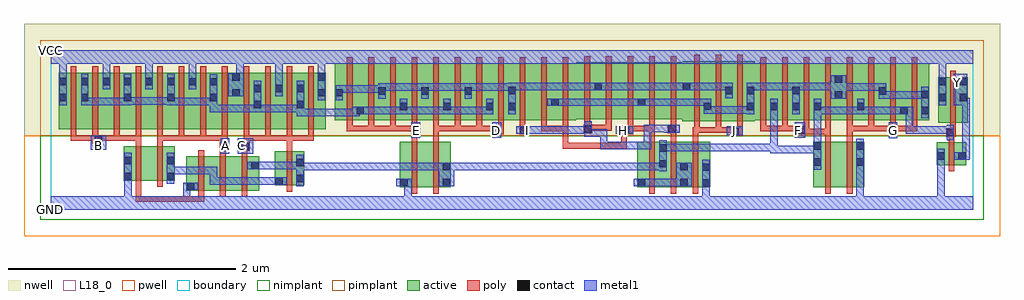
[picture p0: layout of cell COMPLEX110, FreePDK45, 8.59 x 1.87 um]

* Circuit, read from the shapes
.subckt COMPLEX110 A B C D E F G GND H I J VCC Y
M1 n1 B GND VSUBS nfet w=0.3u l=0.05u
M2 n2 A n1 VSUBS nfet w=0.3u l=0.05u
M3 n3 B GND VSUBS nfet w=0.3u l=0.05u
M4 n4 A n3 VSUBS nfet w=0.3u l=0.05u
M5 n5 C n4 VSUBS nfet w=0.3u l=0.05u
M6 n5 C n2 VSUBS nfet w=0.3u l=0.05u
M7 n6 E GND VSUBS nfet w=0.4u l=0.05u
M8 n5 D n6 VSUBS nfet w=0.4u l=0.05u
M9 n5 H n7 VSUBS nfet w=0.4u l=0.05u
M10 n7 I n5 VSUBS nfet w=0.4u l=0.05u
M11 GND J n7 VSUBS nfet w=0.4u l=0.05u
M12 n8 F n5 VSUBS nfet w=0.4u l=0.05u
M13 GND G n8 VSUBS nfet w=0.4u l=0.05u
M14 Y n5 GND VSUBS nfet w=0.2u l=0.05u
M15 n9 B VCC n10 pfet w=0.5u l=0.05u m=4
M16 n9 A VCC n10 pfet w=0.5u l=0.05u m=4
M17 n9 C VCC n10 pfet w=0.5u l=0.05u m=4
M18 n9 E n11 n10 pfet w=0.5u l=0.05u m=4
M19 n9 D n11 n10 pfet w=0.5u l=0.05u m=4
M20 n12 I n11 n10 pfet w=0.5u l=0.05u
M21 n13 H n12 n10 pfet w=0.5u l=0.05u
M22 n14 H n13 n10 pfet w=0.5u l=0.05u
M23 n11 I n14 n10 pfet w=0.5u l=0.05u
M24 n15 I n11 n10 pfet w=0.5u l=0.05u
M25 n13 H n15 n10 pfet w=0.5u l=0.05u
M26 n16 H n13 n10 pfet w=0.5u l=0.05u
M27 n11 I n16 n10 pfet w=0.5u l=0.05u
M28 n13 J n11 n10 pfet w=0.532u l=0.05u m=3
M29 n5 F n13 n10 pfet w=0.5u l=0.05u m=4
M30 n5 G n13 n10 pfet w=0.5u l=0.05u m=4
M31 Y n5 VCC n10 pfet w=0.4u l=0.05u
.ends

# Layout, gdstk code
import gdstk
lib = gdstk.Library(unit=1e-6, precision=1e-09)
def R(c, l, rs):  # rectangles x0, y0, x1, y1
    for r in rs: c.add(gdstk.rectangle(r[:2], r[2:], *l))
def A(c, l, x, y, w, h, nx, ny, dx, dy):  # array of equal rectangles
    R(c, l, [(x+i*dx, y+j*dy, x+i*dx+w, y+j*dy+h) for i in range(nx) for j in range(ny)])
active = (1, 0)
pwell = (2, 0)
nwell = (3, 0)
nimplant = (4, 0)
pimplant = (5, 0)
poly = (9, 0)
contact = (10, 0)
metal1 = (11, 0)
L18_0 = (18, 0)
boundary = (235, 0)

complex110 = lib.new_cell('COMPLEX110')
A(complex110, active, 1.592, 0.705, 0.265, 0.5, 3, 1, 0.19, 0)
A(complex110, active, 2.687, 0.787, 0.265, 0.5, 3, 1, 0.19, 0)
A(complex110, active, 1.212, 0.807, 0.075, 0.398, 3, 1, 0.38, 0)
A(complex110, active, 6.712, 0.807, 0.075, 0.263, 3, 1, 0.38, 0)
R(complex110, active, [(1.195,0.167,1.27,0.467), (1.195,0.167,1.42,0.467), (1.42,0.167,1.61,0.467), (1.61,0.167,1.835,0.467), (3.072,0.195,3.147,0.595), (3.072,0.195,3.297,0.595), (3.297,0.195,3.522,0.595), (3.447,0.195,3.522,0.595), (5.162,0.195,5.427,0.595), (5.162,0.195,5.237,0.487), (5.352,0.195,5.427,0.595), (5.352,0.195,5.612,0.595), (5.537,0.195,5.805,0.595), (5.537,0.195,5.612,0.492), (5.73,0.195,5.805,0.595), (6.712,0.195,6.937,0.595), (6.712,0.195,6.817,0.595), (6.937,0.195,7.162,0.595), (7.087,0.195,7.162,0.595), (1.972,0.212,2.047,0.512), (1.972,0.212,2.232,0.512), (2.157,0.212,2.232,0.512), (0.642,0.255,0.717,0.555), (0.642,0.255,0.867,0.555), (0.867,0.255,1.092,0.555), (1.017,0.255,1.092,0.555), (1.76,0.295,1.835,0.467), (7.797,0.39,8.057,0.59), (7.797,0.39,7.872,0.59), (7.982,0.395,8.057,0.59), (0.072,0.705,0.337,1.205), (0.072,0.705,0.147,1.205), (0.262,0.705,0.527,1.205), (0.452,0.705,0.712,1.205), (0.637,0.705,0.902,1.205), (0.827,0.705,1.097,1.205), (1.022,0.705,1.287,1.205), (1.212,0.705,1.472,1.205), (1.397,0.705,1.667,1.205), (2.162,0.705,2.422,1.205), (2.347,0.705,2.422,1.205), (7.812,0.765,7.887,1.165), (7.812,0.765,8.072,1.165), (7.997,0.765,8.072,1.165), (5.557,0.775,5.817,1.307), (5.742,0.775,6.007,1.307), (5.742,0.775,5.817,1.07), (5.932,0.775,6.197,1.307), (5.932,0.775,6.007,1.2), (2.502,0.787,2.577,1.2), (2.502,0.787,2.762,1.287), (3.257,0.787,3.527,1.287), (3.452,0.787,3.712,1.287), (3.637,0.787,3.902,1.287), (3.827,0.787,4.097,1.287), (4.022,0.787,4.247,1.287), (4.247,0.787,4.477,1.287), (4.402,0.787,4.627,1.287), (6.122,0.787,6.402,1.287), (6.327,0.787,6.597,1.287), (6.522,0.787,6.597,1.2), (6.522,0.787,6.787,1.287), (6.712,0.787,6.972,1.287), (6.897,0.787,7.167,1.287), (7.092,0.787,7.357,1.287), (7.282,0.787,7.547,1.287), (7.472,0.787,7.732,1.287), (7.657,0.787,7.732,1.2), (4.627,0.795,4.857,1.295), (4.782,0.795,5.007,1.295), (5.007,0.795,5.237,1.295), (5.162,0.795,5.387,1.295), (5.387,0.795,5.632,1.295), (3.257,0.802,3.332,1.2), (5.557,0.802,5.632,1.2), (0.262,0.807,0.337,1.2), (0.452,0.807,0.527,1.205), (0.637,0.807,0.712,1.2), (0.827,0.807,0.902,1.205), (1.022,0.807,1.097,1.2), (1.397,0.807,1.472,1.2), (1.782,0.807,1.857,1.2), (2.162,0.807,2.237,1.2), (2.687,0.807,2.762,1.07), (2.877,0.807,2.952,1.2), (3.067,0.807,3.142,1.07), (3.452,0.807,3.527,1.07), (3.637,0.807,3.712,1.2), (3.827,0.807,3.902,1.07), (4.022,0.807,4.097,1.2), (4.402,0.807,4.477,1.07), (4.782,0.807,4.857,1.2), (5.162,0.807,5.237,1.07), (6.122,0.807,6.197,1.2), (6.327,0.807,6.402,1.07), (6.897,0.807,6.972,1.2), (7.282,0.807,7.357,1.2)])
R(complex110, pwell, [(-0.235,-0.235,8.355,0.65)])
R(complex110, nwell, [(-0.235,0.65,8.355,1.635)])
R(complex110, nimplant, [(-0.09,-0.09,8.21,0.65)])
R(complex110, pimplant, [(-0.09,0.65,8.21,1.49)])
A(complex110, poly, 1.3, 0.112, 0.05, 0.41, 3, 1, 0.19, 0)
A(complex110, poly, 0.177, 0.605, 0.05, 0.095, 12, 1, 0.19, 0)
A(complex110, poly, 0.177, 0.605, 0.24, 0.05, 3, 1, 0.38, 0)
A(complex110, poly, 1.697, 0.605, 0.24, 0.05, 3, 1, 0.19, 0)
A(complex110, poly, 0.177, 0.65, 0.05, 0.61, 12, 1, 0.19, 0)
A(complex110, poly, 5.662, 0.675, 0.05, 0.095, 3, 1, 0.19, 0)
A(complex110, poly, 2.607, 0.687, 0.05, 0.095, 11, 1, 0.19, 0)
A(complex110, poly, 2.607, 0.687, 0.05, 0.05, 3, 1, 0.19, 0)
A(complex110, poly, 2.607, 0.687, 0.24, 0.05, 3, 1, 0.19, 0)
A(complex110, poly, 3.557, 0.687, 0.24, 0.05, 3, 1, 0.76, 0)
A(complex110, poly, 6.247, 0.687, 0.05, 0.095, 3, 1, 0.19, 0)
A(complex110, poly, 7.007, 0.687, 0.05, 0.095, 4, 1, 0.19, 0)
A(complex110, poly, 5.662, 0.72, 0.05, 0.642, 3, 1, 0.19, 0)
A(complex110, poly, 2.607, 0.732, 0.05, 0.61, 11, 1, 0.19, 0)
A(complex110, poly, 6.247, 0.732, 0.05, 0.61, 8, 1, 0.19, 0)
A(complex110, poly, 4.697, 0.74, 0.05, 0.61, 5, 1, 0.19, 0)
R(complex110, poly, [(0.747,0.067,0.797,0.117), (0.747,0.067,0.797,0.117), (0.747,0.067,0.797,0.117), (0.747,0.067,1.045,0.117), (0.747,0.067,0.797,0.25), (0.995,0.067,1.045,0.117), (0.995,0.067,1.045,0.117), (0.995,0.067,1.045,0.117), (0.995,0.067,1.217,0.117), (1.167,0.067,1.217,0.117), (1.167,0.067,1.35,0.117), (1.3,0.067,1.35,0.162), (1.3,0.067,1.35,0.117), (1.3,0.067,1.35,0.117), (1.3,0.067,1.35,0.117), (3.177,0.14,3.227,0.65), (3.367,0.14,3.417,0.65), (5.267,0.14,5.317,0.65), (5.457,0.14,5.507,0.65), (5.65,0.14,5.7,0.65), (6.817,0.14,6.867,0.65), (7.007,0.14,7.057,0.65), (2.077,0.157,2.127,0.567), (0.747,0.2,0.797,0.61), (0.937,0.2,0.987,0.61), (7.902,0.335,7.952,0.645), (1.49,0.472,1.54,0.57), (1.68,0.472,1.73,0.567), (1.677,0.517,1.752,0.592), (2.077,0.517,2.127,0.655), (1.49,0.52,1.565,0.595), (4.507,0.537,4.557,0.587), (4.507,0.537,4.805,0.587), (4.507,0.537,4.557,0.737), (4.755,0.537,4.805,0.587), (4.755,0.537,4.805,0.587), (4.755,0.537,4.805,0.587), (4.755,0.537,4.94,0.587), (4.89,0.537,4.94,0.587), (4.89,0.537,5.072,0.587), (5.022,0.537,5.072,0.587), (5.022,0.537,5.072,0.587), (5.022,0.537,5.072,0.587), (5.022,0.537,5.072,0.712), (1.697,0.542,1.747,0.655), (1.507,0.545,1.557,0.655), (0.747,0.56,0.797,0.655), (0.937,0.56,0.987,0.655), (0.367,0.58,0.457,0.655), (7.902,0.595,7.952,0.69), (3.177,0.6,3.227,0.712), (3.367,0.6,3.417,0.737), (5.267,0.6,5.317,0.737), (5.457,0.6,5.507,0.72), (5.65,0.6,5.7,0.725), (6.817,0.6,6.867,0.712), (7.007,0.6,7.057,0.737), (0.177,0.605,0.227,0.655), (0.177,0.605,0.227,0.655), (0.177,0.605,0.227,0.655), (0.407,0.605,0.457,0.655), (0.407,0.605,0.457,0.655), (0.407,0.605,0.607,0.655), (0.557,0.605,0.607,0.655), (0.557,0.605,0.607,0.655), (0.557,0.605,0.607,0.655), (0.747,0.605,0.797,0.655), (0.747,0.605,0.797,0.655), (0.747,0.605,0.797,0.655), (0.937,0.605,0.987,0.655), (0.937,0.605,0.987,0.655), (0.937,0.605,0.987,0.655), (1.127,0.605,1.177,0.655), (1.127,0.605,1.177,0.655), (1.127,0.605,1.177,0.655), (1.127,0.605,1.367,0.655), (1.317,0.605,1.367,0.655), (1.317,0.605,1.367,0.655), (1.317,0.605,1.367,0.655), (1.317,0.605,1.557,0.655), (1.507,0.605,1.557,0.655), (1.507,0.605,1.557,0.655), (1.507,0.605,1.557,0.655), (1.697,0.605,1.747,0.655), (1.697,0.605,1.747,0.655), (1.697,0.605,1.747,0.655), (1.887,0.605,1.937,0.655), (1.887,0.605,1.937,0.655), (1.887,0.605,1.937,0.655), (2.077,0.605,2.127,0.655), (2.077,0.605,2.127,0.655), (2.077,0.605,2.127,0.655), (2.267,0.605,2.317,0.655), (2.267,0.605,2.317,0.655), (2.267,0.605,2.317,0.655), (7.88,0.64,7.967,0.715), (7.902,0.64,7.952,0.69), (7.902,0.64,7.952,0.69), (5.985,0.65,6.092,0.725), (3.177,0.662,3.252,0.737), (3.897,0.662,3.987,0.737), (4.127,0.662,4.202,0.737), (5.022,0.662,5.127,0.737), (6.57,0.662,6.677,0.737), (6.627,0.662,6.677,0.712), (6.627,0.662,6.677,0.712), (6.627,0.662,6.867,0.712), (6.817,0.662,6.867,0.712), (6.817,0.662,6.867,0.712), (6.817,0.662,6.867,0.712), (6.817,0.662,6.867,0.782), (7.382,0.662,7.457,0.737), (7.917,0.665,7.967,0.76), (4.692,0.67,4.767,0.745), (5.432,0.67,5.507,0.745), (5.65,0.675,5.712,0.725), (5.662,0.675,5.712,0.725), (5.662,0.675,5.712,0.725), (5.662,0.675,5.712,0.725), (5.662,0.675,5.712,0.725), (5.662,0.675,5.902,0.725), (5.852,0.675,5.902,0.725), (5.852,0.675,6.035,0.725), (5.985,0.675,6.035,0.725), (5.985,0.675,6.035,0.725), (2.607,0.687,2.657,0.737), (2.607,0.687,2.657,0.737), (2.987,0.687,3.037,0.737), (2.987,0.687,3.037,0.737), (3.177,0.687,3.227,0.737), (3.177,0.687,3.227,0.737), (3.177,0.687,3.227,0.737), (3.177,0.687,3.227,0.737), (3.367,0.687,3.417,0.737), (3.367,0.687,3.417,0.737), (3.367,0.687,3.417,0.737), (3.367,0.687,3.607,0.737), (3.557,0.687,3.607,0.737), (3.557,0.687,3.607,0.737), (3.557,0.687,3.607,0.737), (3.747,0.687,3.797,0.737), (3.747,0.687,3.797,0.737), (3.747,0.687,3.797,0.737), (3.747,0.687,3.947,0.737), (3.897,0.687,3.947,0.737), (3.897,0.687,3.947,0.737), (4.317,0.687,4.367,0.737), (4.317,0.687,4.367,0.737), (4.317,0.687,4.367,0.737), (4.507,0.687,4.557,0.737), (4.507,0.687,4.557,0.737), (4.507,0.687,4.557,0.737), (5.077,0.687,5.127,0.79), (5.267,0.687,5.317,0.737), (5.267,0.687,5.317,0.737), (5.267,0.687,5.317,0.737), (5.267,0.687,5.317,0.737), (5.267,0.687,5.317,0.737), (5.267,0.687,5.317,0.79), (6.247,0.687,6.297,0.737), (6.247,0.687,6.297,0.737), (6.247,0.687,6.297,0.737), (6.247,0.687,6.487,0.737), (6.437,0.687,6.487,0.737), (6.437,0.687,6.487,0.737), (6.437,0.687,6.487,0.737), (6.437,0.687,6.62,0.737), (7.007,0.687,7.057,0.737), (7.007,0.687,7.057,0.737), (7.007,0.687,7.057,0.737), (7.007,0.687,7.247,0.737), (7.197,0.687,7.247,0.737), (7.197,0.687,7.247,0.737), (7.197,0.687,7.247,0.737), (7.197,0.687,7.432,0.737), (7.382,0.687,7.432,0.737), (7.382,0.687,7.432,0.737), (7.407,0.687,7.627,0.737), (7.577,0.687,7.627,0.737), (7.577,0.687,7.627,0.737), (7.577,0.687,7.627,0.737), (4.697,0.695,4.747,0.79), (4.717,0.695,4.937,0.745), (4.887,0.695,4.937,0.79), (4.887,0.695,4.937,0.745), (4.887,0.695,4.937,0.745), (4.887,0.695,4.937,0.745), (5.457,0.695,5.507,0.79), (5.457,0.695,5.507,0.745), (5.457,0.695,5.507,0.745), (7.917,0.71,7.967,1.22)])
A(complex110, contact, 2.882, 1.012, 0.065, 0.065, 3, 1, 0.38, 0)
A(complex110, contact, 1.787, 1.032, 0.065, 0.065, 3, 1, 0.19, 0)
A(complex110, contact, 0.077, 1.095, 0.065, 0.065, 3, 1, 0.19, 0)
R(complex110, contact, [(1.2,0.172,1.265,0.237), (5.735,0.2,5.8,0.265), (3.077,0.205,3.142,0.27), (3.452,0.205,3.517,0.27), (5.167,0.205,5.232,0.27), (5.542,0.205,5.607,0.27), (1.977,0.217,2.042,0.282), (2.162,0.24,2.227,0.305), (0.647,0.26,0.712,0.325), (1.022,0.26,1.087,0.325), (5.735,0.34,5.8,0.405), (3.452,0.345,3.517,0.41), (5.542,0.345,5.607,0.41), (1.765,0.355,1.83,0.42), (5.357,0.37,5.422,0.435), (2.162,0.38,2.227,0.445), (6.717,0.385,6.782,0.45), (7.092,0.385,7.157,0.45), (0.647,0.4,0.712,0.465), (1.022,0.4,1.087,0.465), (7.802,0.437,7.867,0.502), (7.987,0.437,8.052,0.502), (5.357,0.51,5.422,0.575), (1.682,0.522,1.747,0.587), (1.495,0.525,1.56,0.59), (6.717,0.525,6.782,0.59), (7.092,0.525,7.157,0.59), (0.387,0.585,0.452,0.65), (7.885,0.645,7.95,0.71), (5.99,0.655,6.055,0.72), (3.182,0.667,3.247,0.732), (3.902,0.667,3.967,0.732), (4.132,0.667,4.197,0.732), (5.027,0.667,5.092,0.732), (6.575,0.667,6.64,0.732), (7.387,0.667,7.452,0.732), (4.697,0.675,4.762,0.74), (5.437,0.675,5.502,0.74), (2.692,0.84,2.757,0.905), (7.477,0.84,7.542,0.905), (7.662,0.84,7.727,0.905), (3.072,0.875,3.137,0.94), (3.457,0.875,3.522,0.94), (3.832,0.875,3.897,0.94), (4.027,0.875,4.092,0.94), (6.127,0.875,6.192,0.94), (6.332,0.875,6.397,0.94), (6.527,0.875,6.592,0.94), (6.717,0.875,6.782,0.94), (7.097,0.875,7.162,0.94), (5.747,0.877,5.812,0.942), (1.787,0.892,1.852,0.957), (2.167,0.892,2.232,0.957), (4.407,0.912,4.472,0.977), (5.167,0.912,5.232,0.977), (1.402,0.952,1.467,1.017), (0.077,0.955,0.142,1.02), (0.267,0.955,0.332,1.02), (0.642,0.955,0.707,1.02), (1.027,0.955,1.092,1.02), (7.817,0.955,7.882,1.02), (8.002,0.955,8.067,1.02), (6.902,0.977,6.967,1.042), (7.662,0.98,7.727,1.045), (1.597,0.995,1.662,1.06), (2.352,0.995,2.417,1.06), (2.507,0.995,2.572,1.06), (7.287,1.012,7.352,1.077), (4.027,1.015,4.092,1.08), (5.937,1.015,6.002,1.08), (6.127,1.015,6.192,1.08), (6.527,1.015,6.592,1.08), (4.787,1.05,4.852,1.115), (5.562,1.05,5.627,1.115), (1.217,1.092,1.282,1.157), (1.402,1.092,1.467,1.157), (0.642,1.095,0.707,1.16), (0.832,1.095,0.897,1.16), (1.027,1.095,1.092,1.16), (7.817,1.095,7.882,1.16), (8.002,1.095,8.067,1.16), (6.902,1.117,6.967,1.182), (1.597,1.135,1.662,1.2), (2.352,1.135,2.417,1.2)])
A(complex110, metal1, 2.882, 0.977, 0.065, 0.135, 3, 1, 0.38, 0)
R(complex110, metal1, [(0,0,8.12,0.115), (0.647,0.05,0.712,0.115), (0.647,0.05,0.712,0.115), (0.647,0.05,0.712,0.29), (1.165,0.05,1.23,0.115), (1.165,0.05,1.23,0.115), (1.165,0.05,1.23,0.237), (3.112,0.05,3.177,0.27), (5.735,0.05,5.8,0.23), (7.092,0.05,7.157,0.415), (7.802,0.05,7.867,0.115), (7.802,0.05,7.867,0.115), (7.802,0.05,7.867,0.467), (5.735,0.165,5.8,0.44), (1.165,0.172,1.3,0.237), (2.162,0.205,2.227,0.48), (3.042,0.205,3.177,0.27), (3.417,0.205,3.552,0.41), (5.132,0.205,5.267,0.27), (5.202,0.205,5.267,0.27), (5.202,0.205,5.267,0.27), (5.202,0.205,5.422,0.27), (5.357,0.205,5.422,0.27), (5.357,0.205,5.572,0.27), (5.507,0.205,5.572,0.27), (5.507,0.205,5.572,0.27), (5.507,0.205,5.642,0.41), (1.402,0.217,1.605,0.282), (1.402,0.217,1.467,0.375), (1.54,0.217,1.605,0.282), (1.54,0.217,1.815,0.282), (1.75,0.217,1.815,0.282), (1.75,0.217,1.815,0.282), (1.75,0.217,1.815,0.282), (1.75,0.217,1.952,0.282), (1.887,0.217,1.952,0.282), (1.887,0.217,2.007,0.282), (1.942,0.217,2.077,0.282), (0.647,0.225,0.712,0.5), (1.022,0.225,1.087,0.5), (1.022,0.31,1.087,0.375), (1.022,0.31,1.087,0.375), (1.022,0.31,1.33,0.375), (1.265,0.31,1.33,0.375), (1.265,0.31,1.33,0.375), (1.265,0.31,1.33,0.375), (1.265,0.31,1.467,0.375), (1.402,0.31,1.467,0.375), (1.402,0.31,1.467,0.375), (5.357,0.335,5.422,0.61), (2.162,0.345,2.227,0.41), (2.162,0.345,2.227,0.41), (2.162,0.345,2.435,0.41), (2.37,0.345,2.435,0.41), (2.37,0.345,2.435,0.41), (2.37,0.345,2.435,0.41), (2.37,0.345,2.777,0.41), (2.712,0.345,2.777,0.41), (2.712,0.345,2.777,0.41), (2.712,0.345,2.777,0.41), (2.712,0.345,2.915,0.41), (2.85,0.345,2.915,0.41), (2.85,0.345,2.93,0.41), (2.865,0.345,2.93,0.41), (2.865,0.345,3.052,0.41), (2.987,0.345,3.052,0.41), (2.987,0.345,3.107,0.41), (3.042,0.345,3.107,0.41), (3.042,0.345,3.327,0.41), (3.262,0.345,3.327,0.41), (3.262,0.345,3.327,0.41), (3.262,0.345,3.327,0.41), (3.262,0.345,3.465,0.41), (3.4,0.345,3.465,0.41), (3.4,0.345,3.482,0.41), (3.487,0.345,3.602,0.41), (3.537,0.345,3.602,0.41), (3.537,0.345,3.76,0.41), (3.695,0.345,3.76,0.41), (3.695,0.345,3.76,0.41), (3.695,0.345,3.76,0.41), (3.695,0.345,3.955,0.41), (3.89,0.345,3.955,0.41), (3.89,0.345,3.955,0.41), (3.89,0.345,3.955,0.41), (3.89,0.345,4.092,0.41), (4.027,0.345,4.092,0.41), (4.027,0.345,4.092,0.41), (4.027,0.345,4.092,0.41), (4.027,0.345,4.23,0.41), (4.165,0.345,4.23,0.41), (4.165,0.345,4.405,0.41), (4.34,0.345,4.405,0.41), (4.34,0.345,4.405,0.41), (4.34,0.345,4.405,0.41), (4.34,0.345,4.542,0.41), (4.477,0.345,4.542,0.41), (4.477,0.345,4.68,0.41), (4.615,0.345,4.68,0.41), (4.615,0.345,4.68,0.41), (4.615,0.345,4.68,0.41), (4.615,0.345,4.9,0.41), (4.835,0.345,4.9,0.41), (4.835,0.345,4.9,0.41), (4.835,0.345,4.9,0.41), (4.835,0.345,5.037,0.41), (4.972,0.345,5.037,0.41), (4.972,0.345,5.037,0.41), (4.972,0.345,5.037,0.41), (4.972,0.345,5.285,0.41), (5.22,0.345,5.285,0.41), (5.22,0.345,5.285,0.41), (5.22,0.345,5.285,0.41), (5.22,0.345,5.422,0.41), (6.717,0.35,6.782,0.625), (7.092,0.35,7.157,0.625), (1.73,0.355,1.865,0.42), (1.8,0.355,1.952,0.42), (1.887,0.355,1.952,0.42), (1.887,0.355,2.09,0.42), (2.025,0.355,2.09,0.42), (2.025,0.355,2.09,0.42), (2.025,0.355,2.09,0.42), (2.025,0.355,2.227,0.42), (7.802,0.402,7.867,0.467), (7.802,0.402,7.867,0.467), (7.802,0.402,7.867,0.537), (7.952,0.437,8.087,0.502), (8.022,0.437,8.087,0.502), (8.022,0.437,8.087,0.502), (8.022,0.437,8.087,0.502), (8.022,0.437,8.087,0.502), (8.022,0.437,8.087,0.985), (1.495,0.49,1.572,0.627), (1.647,0.492,1.782,0.627), (6.332,0.495,6.535,0.56), (6.332,0.495,6.397,0.577), (6.47,0.495,6.535,0.56), (6.47,0.495,6.535,0.56), (6.47,0.495,6.535,0.56), (6.47,0.495,6.782,0.56), (5.357,0.512,5.422,0.577), (5.357,0.512,5.422,0.577), (5.357,0.512,5.662,0.577), (5.597,0.512,5.662,0.577), (5.597,0.512,5.71,0.577), (5.645,0.512,5.71,0.577), (5.645,0.512,5.865,0.577), (5.8,0.512,5.865,0.577), (5.8,0.512,5.865,0.577), (5.8,0.512,5.865,0.577), (5.8,0.512,6.055,0.577), (5.99,0.512,6.055,0.577), (5.99,0.512,6.055,0.577), (5.99,0.512,6.055,0.577), (5.99,0.512,6.26,0.577), (6.195,0.512,6.26,0.577), (6.195,0.512,6.26,0.577), (6.195,0.512,6.26,0.577), (6.195,0.512,6.397,0.577), (6.332,0.512,6.397,0.577), (6.332,0.512,6.397,0.577), (6.332,0.512,6.397,0.577), (6.332,0.512,6.397,0.577), (6.332,0.512,6.397,0.905), (0.352,0.527,0.487,0.65), (4.835,0.53,4.9,0.595), (4.835,0.53,4.9,0.595), (4.835,0.53,4.9,0.595), (4.835,0.53,5.06,0.595), (4.835,0.53,4.9,0.705), (4.995,0.53,5.06,0.595), (4.995,0.53,5.06,0.595), (4.995,0.53,5.06,0.595), (4.995,0.53,5.285,0.595), (5.22,0.53,5.285,0.595), (5.22,0.53,5.285,0.595), (5.22,0.53,5.285,0.747), (6.717,0.56,6.782,0.625), (6.717,0.56,6.782,0.625), (6.717,0.56,6.782,0.625), (6.717,0.56,6.782,0.625), (6.717,0.56,6.782,0.905), (7.885,0.61,7.95,0.745), (7.377,0.627,7.452,0.767), (3.175,0.63,3.252,0.767), (3.887,0.632,3.967,0.767), (6.547,0.632,6.64,0.767), (4.697,0.64,4.762,0.775), (4.697,0.64,4.9,0.705), (4.835,0.64,4.9,0.705), (5.952,0.655,6.09,0.732), (4.097,0.667,4.267,0.732), (4.202,0.667,4.267,0.732), (4.202,0.667,4.267,0.732), (4.202,0.667,4.405,0.732), (4.34,0.667,4.405,0.732), (4.34,0.667,4.405,0.732), (4.34,0.667,4.405,0.732), (4.34,0.667,4.542,0.732), (4.477,0.667,4.542,0.732), (4.477,0.667,4.68,0.732), (4.615,0.667,4.68,0.732), (4.615,0.667,4.762,0.732), (4.972,0.667,5.127,0.732), (7.525,0.667,7.59,0.732), (7.525,0.667,7.645,0.732), (7.525,0.667,7.59,0.905), (7.58,0.667,7.645,0.732), (7.58,0.667,7.727,0.732), (7.662,0.667,7.727,0.732), (7.662,0.667,7.865,0.732), (7.8,0.667,7.865,0.732), (7.8,0.667,7.95,0.732), (5.402,0.675,5.537,0.747), (5.22,0.682,5.435,0.747), (5.37,0.682,5.435,0.747), (5.37,0.682,5.467,0.747), (7.662,0.805,7.727,1.08), (2.167,0.822,2.435,0.887), (2.167,0.822,2.232,0.922), (2.37,0.822,2.435,0.887), (2.37,0.822,2.435,0.887), (2.37,0.822,2.435,0.887), (2.37,0.822,2.722,0.887), (2.657,0.822,2.722,0.905), (2.657,0.84,2.722,0.905), (2.657,0.84,2.792,0.905), (2.727,0.84,2.915,0.905), (2.85,0.84,2.915,0.905), (2.85,0.84,2.97,0.905), (2.905,0.84,2.97,0.905), (2.905,0.84,3.052,0.905), (2.987,0.84,3.052,0.905), (2.987,0.84,3.137,0.905), (3.072,0.84,3.137,0.975), (3.072,0.84,3.327,0.905), (3.262,0.84,3.327,0.905), (3.262,0.84,3.327,0.905), (3.262,0.84,3.327,0.905), (3.262,0.84,3.465,0.905), (3.4,0.84,3.465,0.905), (3.4,0.84,3.522,0.905), (3.457,0.84,3.522,0.975), (3.457,0.84,3.602,0.905), (3.537,0.84,3.602,0.905), (3.537,0.84,3.76,0.905), (3.695,0.84,3.76,0.905), (3.695,0.84,3.76,0.905), (3.695,0.84,3.76,0.905), (3.695,0.84,3.897,0.905), (3.832,0.84,3.897,0.975), (4.027,0.84,4.092,1.115), (6.127,0.84,6.192,1.115), (6.332,0.84,6.397,0.905), (6.332,0.84,6.397,0.905), (6.332,0.84,6.397,0.975), (6.527,0.84,6.592,1.115), (6.717,0.84,6.782,0.905), (6.717,0.84,6.782,0.905), (6.717,0.84,6.782,0.975), (6.717,0.84,7.002,0.905), (6.937,0.84,7.002,0.905), (6.937,0.84,7.162,0.905), (7.097,0.84,7.162,0.905), (7.097,0.84,7.162,0.905), (7.097,0.84,7.162,0.975), (7.097,0.84,7.305,0.905), (7.24,0.84,7.305,0.905), (7.24,0.84,7.305,0.905), (7.24,0.84,7.305,0.905), (7.24,0.84,7.507,0.905), (7.442,0.84,7.507,0.905), (7.442,0.84,7.507,0.905), (7.442,0.84,7.59,0.905), (5.747,0.842,5.812,0.977), (5.747,0.842,5.88,0.907), (5.815,0.842,5.88,0.907), (5.815,0.842,6.055,0.907), (5.99,0.842,6.055,0.907), (5.99,0.842,6.055,0.907), (5.99,0.842,6.055,0.907), (5.99,0.842,6.192,0.907), (1.402,0.857,1.605,0.922), (1.402,0.857,1.467,0.982), (1.54,0.857,1.605,0.922), (1.54,0.857,1.605,0.922), (1.54,0.857,1.605,0.922), (1.54,0.857,1.852,0.922), (1.787,0.857,1.852,1.132), (1.787,0.857,1.952,0.922), (1.887,0.857,1.952,0.922), (1.887,0.857,2.09,0.922), (2.025,0.857,2.09,0.922), (2.025,0.857,2.09,0.922), (2.025,0.857,2.09,0.922), (2.025,0.857,2.232,0.922), (2.167,0.857,2.232,0.922), (2.167,0.857,2.232,1.132), (4.372,0.912,4.507,0.977), (4.442,0.912,4.542,0.977), (4.477,0.912,4.542,0.977), (4.477,0.912,4.68,0.977), (4.615,0.912,4.68,0.977), (4.615,0.912,4.68,0.977), (4.615,0.912,4.68,0.977), (4.615,0.912,4.9,0.977), (4.835,0.912,4.9,0.977), (4.835,0.912,4.9,0.977), (4.835,0.912,4.9,0.977), (4.835,0.912,5.037,0.977), (4.972,0.912,5.037,0.977), (4.972,0.912,5.037,0.977), (4.972,0.912,5.037,0.977), (4.972,0.912,5.197,0.977), (5.132,0.912,5.267,0.977), (5.202,0.912,5.267,0.977), (5.202,0.912,5.267,0.977), (5.202,0.912,5.435,0.977), (5.37,0.912,5.435,0.977), (5.37,0.912,5.435,0.977), (5.37,0.912,5.435,0.977), (5.37,0.912,5.662,0.977), (5.597,0.912,5.662,0.977), (5.597,0.912,5.71,0.977), (5.645,0.912,5.71,0.977), (5.645,0.912,5.812,0.977), (1.402,0.917,1.467,0.982), (1.402,0.917,1.467,1.192), (0.077,0.92,0.142,1.195), (0.267,0.92,0.332,0.985), (0.267,0.92,0.332,0.985), (0.267,0.92,0.332,1.195), (0.267,0.92,0.57,0.985), (0.505,0.92,0.57,0.985), (0.505,0.92,0.57,0.985), (0.505,0.92,0.57,0.985), (0.505,0.92,0.707,0.985), (0.642,0.92,0.707,1.195), (1.027,0.92,1.092,0.985), (1.027,0.92,1.092,0.985), (1.027,0.92,1.092,1.195), (1.027,0.92,1.33,0.985), (1.265,0.92,1.33,0.985), (1.265,0.92,1.33,0.985), (1.265,0.92,1.33,0.985), (1.265,0.92,1.467,0.985), (7.817,0.92,7.882,1.195), (7.947,0.92,8.067,1.195), (8.002,0.92,8.067,0.985), (8.002,0.92,8.087,0.985), (0.642,0.922,0.707,0.987), (0.642,0.922,0.707,0.987), (0.642,0.922,0.85,0.987), (0.785,0.922,0.85,0.987), (0.785,0.922,0.85,0.987), (0.785,0.922,0.85,0.987), (0.785,0.922,1.092,0.987), (2.352,0.96,2.417,1.235), (2.507,0.96,2.572,1.095), (6.867,0.977,7.002,1.182), (7.287,0.977,7.352,1.112), (7.287,0.977,7.49,1.042), (7.425,0.977,7.49,1.042), (7.425,0.977,7.49,1.042), (7.425,0.977,7.49,1.042), (7.425,0.977,7.727,1.042), (7.662,0.977,7.727,1.042), (7.662,0.977,7.727,1.042), (5.937,0.98,6.002,1.115), (1.562,0.995,1.697,1.2), (1.977,0.997,2.042,1.132), (2.507,1.03,2.572,1.095), (2.507,1.03,2.572,1.095), (2.507,1.03,2.792,1.095), (2.727,1.03,2.792,1.095), (2.727,1.03,2.915,1.095), (2.85,1.03,2.915,1.095), (2.85,1.03,2.947,1.095), (2.882,1.047,3.052,1.112), (2.987,1.047,3.052,1.112), (2.987,1.047,3.19,1.112), (3.125,1.047,3.19,1.112), (3.125,1.047,3.19,1.112), (3.125,1.047,3.19,1.112), (3.125,1.047,3.327,1.112), (3.262,1.047,3.465,1.112), (3.4,1.047,3.465,1.112), (3.4,1.047,3.465,1.112), (3.4,1.047,3.465,1.112), (3.4,1.047,3.622,1.112), (3.557,1.047,3.622,1.112), (3.557,1.047,3.707,1.112), (3.642,1.047,3.815,1.112), (3.75,1.047,3.815,1.112), (3.75,1.047,3.952,1.112), (3.887,1.047,3.952,1.112), (3.887,1.047,3.952,1.112), (3.887,1.047,3.952,1.112), (3.887,1.047,4.092,1.112), (6.937,1.047,7.002,1.112), (6.937,1.047,7.002,1.112), (6.937,1.047,7.14,1.112), (7.075,1.047,7.14,1.112), (7.075,1.047,7.305,1.112), (7.24,1.047,7.305,1.112), (7.24,1.047,7.352,1.112), (4.027,1.05,4.267,1.115), (4.202,1.05,4.267,1.115), (4.202,1.05,4.267,1.115), (4.202,1.05,4.267,1.115), (4.202,1.05,4.405,1.115), (4.34,1.05,4.405,1.115), (4.34,1.05,4.542,1.115), (4.477,1.05,4.542,1.115), (4.477,1.05,4.542,1.115), (4.477,1.05,4.542,1.115), (4.477,1.05,4.68,1.115), (4.615,1.05,4.68,1.115), (4.615,1.05,4.68,1.115), (4.615,1.05,4.68,1.115), (4.615,1.05,4.817,1.115), (4.752,1.05,4.887,1.115), (4.822,1.05,4.9,1.115), (4.835,1.05,4.9,1.115), (4.835,1.05,5.037,1.115), (4.972,1.05,5.037,1.115), (4.972,1.05,5.037,1.115), (4.972,1.05,5.037,1.115), (4.972,1.05,5.285,1.115), (5.22,1.05,5.285,1.115), (5.22,1.05,5.285,1.115), (5.22,1.05,5.285,1.115), (5.22,1.05,5.435,1.115), (5.37,1.05,5.435,1.115), (5.37,1.05,5.435,1.115), (5.37,1.05,5.435,1.115), (5.37,1.05,5.592,1.115), (5.527,1.05,5.662,1.115), (5.597,1.05,5.727,1.115), (5.662,1.05,5.727,1.115), (5.662,1.05,5.865,1.115), (5.8,1.05,5.865,1.115), (5.8,1.05,5.865,1.115), (5.8,1.05,5.865,1.115), (5.8,1.05,6.002,1.115), (6.127,1.05,6.192,1.115), (6.127,1.05,6.192,1.115), (6.127,1.05,6.192,1.115), (6.127,1.05,6.192,1.115), (6.127,1.05,6.397,1.115), (6.332,1.05,6.397,1.115), (6.332,1.05,6.397,1.115), (6.332,1.05,6.397,1.115), (6.332,1.05,6.592,1.115), (6.527,1.05,6.592,1.115), (6.527,1.05,6.592,1.115), (6.527,1.05,6.795,1.115), (6.73,1.05,6.795,1.115), (6.73,1.05,6.795,1.115), (6.73,1.05,6.795,1.115), (6.73,1.05,6.932,1.115), (1.217,1.057,1.282,1.192), (0.457,1.06,0.522,1.195), (0.832,1.06,0.897,1.195), (1.977,1.067,2.042,1.35), (1.217,1.127,1.282,1.35), (0.077,1.13,0.142,1.35), (0.457,1.13,0.522,1.35), (0.832,1.13,0.897,1.35), (7.817,1.13,7.882,1.35), (1.632,1.135,1.697,1.35), (2.352,1.17,2.417,1.35), (0,1.285,8.12,1.4)])
R(complex110, L18_0, [(0,0,8.12,0.115), (0.647,0.05,0.712,0.115), (0.647,0.05,0.712,0.115), (0.647,0.05,0.712,0.29), (1.165,0.05,1.23,0.115), (1.165,0.05,1.23,0.115), (1.165,0.05,1.23,0.237), (3.112,0.05,3.177,0.27), (5.735,0.05,5.8,0.23), (7.092,0.05,7.157,0.415), (7.802,0.05,7.867,0.115), (7.802,0.05,7.867,0.115), (7.802,0.05,7.867,0.467), (5.735,0.165,5.8,0.44), (1.165,0.172,1.3,0.237), (3.042,0.205,3.177,0.27), (0.647,0.225,0.712,0.5), (7.092,0.35,7.157,0.625), (7.802,0.402,7.867,0.537), (7.802,0.402,7.867,0.467), (7.802,0.402,7.867,0.467), (7.952,0.437,8.087,0.502), (8.022,0.437,8.087,0.502), (8.022,0.437,8.087,0.502), (8.022,0.437,8.087,0.502), (8.022,0.437,8.087,0.502), (8.022,0.437,8.087,0.985), (1.495,0.49,1.572,0.627), (1.647,0.492,1.782,0.627), (0.352,0.527,0.487,0.65), (0.387,0.527,0.452,0.592), (1.507,0.527,1.572,0.592), (1.647,0.527,1.712,0.592), (4.835,0.53,4.9,0.595), (4.835,0.53,4.9,0.595), (4.835,0.53,4.9,0.595), (4.835,0.53,4.9,0.705), (4.835,0.53,5.06,0.595), (4.995,0.53,5.06,0.595), (4.995,0.53,5.06,0.595), (4.995,0.53,5.06,0.595), (4.995,0.53,5.285,0.595), (5.22,0.53,5.285,0.595), (5.22,0.53,5.285,0.595), (5.22,0.53,5.285,0.747), (7.377,0.627,7.452,0.767), (3.175,0.63,3.252,0.767), (3.887,0.632,3.967,0.767), (6.547,0.632,6.64,0.767), (4.697,0.64,4.762,0.775), (4.697,0.64,4.9,0.705), (4.835,0.64,4.9,0.705), (5.952,0.655,6.09,0.732), (3.187,0.667,3.252,0.732), (3.887,0.667,3.952,0.732), (4.097,0.667,4.267,0.732), (4.167,0.667,4.232,0.732), (4.202,0.667,4.267,0.732), (4.202,0.667,4.267,0.732), (4.202,0.667,4.405,0.732), (4.34,0.667,4.405,0.732), (4.34,0.667,4.405,0.732), (4.34,0.667,4.405,0.732), (4.34,0.667,4.542,0.732), (4.477,0.667,4.542,0.732), (4.477,0.667,4.68,0.732), (4.615,0.667,4.68,0.732), (4.615,0.667,4.762,0.732), (4.972,0.667,5.127,0.732), (5.007,0.667,5.072,0.732), (5.987,0.667,6.052,0.732), (6.547,0.667,6.612,0.732), (7.387,0.667,7.452,0.732), (5.402,0.675,5.537,0.747), (5.22,0.682,5.435,0.747), (5.37,0.682,5.435,0.747), (5.37,0.682,5.467,0.747), (0.077,0.92,0.142,1.195), (7.817,0.92,7.882,1.195), (7.947,0.92,8.067,1.195), (8.002,0.92,8.067,0.985), (8.002,0.92,8.087,0.985), (2.352,0.96,2.417,1.235), (1.562,0.995,1.697,1.2), (1.977,0.997,2.042,1.132), (1.217,1.057,1.282,1.192), (0.457,1.06,0.522,1.195), (0.832,1.06,0.897,1.195), (1.977,1.067,2.042,1.35), (7.947,1.087,8.012,1.152), (1.217,1.127,1.282,1.35), (0.077,1.13,0.142,1.35), (0.457,1.13,0.522,1.35), (0.832,1.13,0.897,1.35), (7.817,1.13,7.882,1.35), (1.632,1.135,1.697,1.35), (2.352,1.17,2.417,1.35), (0,1.285,8.12,1.4)])
R(complex110, boundary, [(0,0,8.12,1.4)])
complex110.add(gdstk.Label('A', (1.54,0.56), layer=11, texttype=0))
complex110.add(gdstk.Label('B', (0.42,0.56), layer=11, texttype=0))
complex110.add(gdstk.Label('C', (1.68,0.56), layer=11, texttype=0))
complex110.add(gdstk.Label('D', (3.92,0.7), layer=11, texttype=0))
complex110.add(gdstk.Label('E', (3.22,0.7), layer=11, texttype=0))
complex110.add(gdstk.Label('F', (6.58,0.7), layer=11, texttype=0))
complex110.add(gdstk.Label('G', (7.42,0.7), layer=11, texttype=0))
complex110.add(gdstk.Label('H', (5.04,0.7), layer=11, texttype=0))
complex110.add(gdstk.Label('I', (4.2,0.7), layer=11, texttype=0))
complex110.add(gdstk.Label('J', (6.02,0.7), layer=11, texttype=0))
complex110.add(gdstk.Label('Y', (7.98,1.12), layer=11, texttype=0))
complex110.add(gdstk.Label('VCC', (0,1.4), layer=11, texttype=0))
complex110.add(gdstk.Label('GND', (0,0), layer=11, texttype=0))

lib.write_gds('COMPLEX110.gds')
